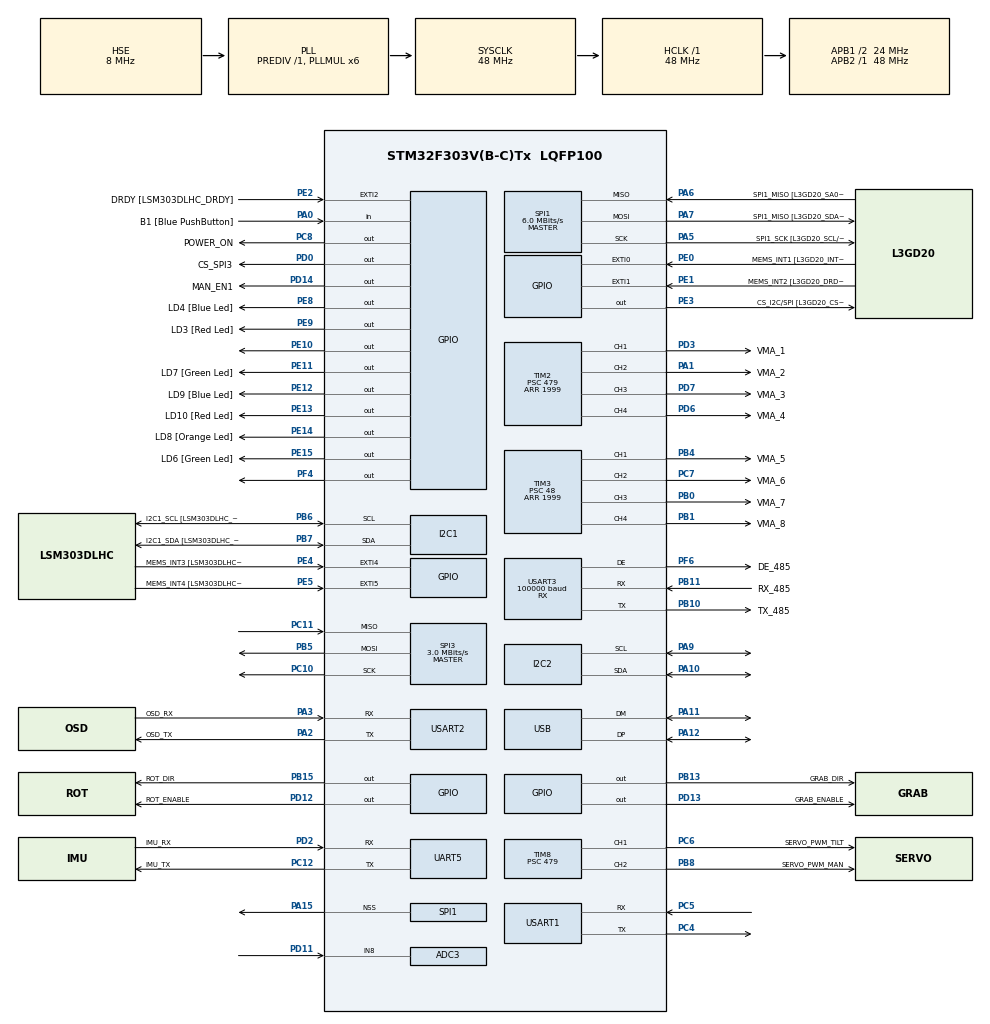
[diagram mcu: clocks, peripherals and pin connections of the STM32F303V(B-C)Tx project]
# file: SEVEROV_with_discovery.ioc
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ADC3.Channel-0\#ChannelRegularConversion=ADC_CHANNEL_8
ADC3.ContinuousConvMode=ENABLE
ADC3.NbrOfConversionFlag=1
ADC3.Offset-0\#ChannelRegularConversion=0
ADC3.OffsetNumber-0\#ChannelRegularConversion=ADC_OFFSET_NONE
ADC3.Rank-0\#ChannelRegularConversion=1
ADC3.SamplingTime-0\#ChannelRegularConversion=ADC_SAMPLETIME_19CYCLES_5
ADC3.SamplingTimeOPAMP-0\#ChannelRegularConversion=ADC_SAMPLETIME_19CYCLES_5
ADC3.master=1
I2C1.Timing-I2C=0x2000090E
I2C2.Speed=100
Mcu.Family=STM32F3
Mcu.Name=STM32F303V(B-C)Tx
Mcu.Package=LQFP100
NVIC.PriorityGroup=NVIC_PRIORITYGROUP_0
NVIC.USB_HP_IRQn=true\:0\:0\:false\:false\:true\:true\:true\:true
NVIC.USB_LP_IRQn=true\:0\:0\:false\:false\:true\:false\:true\:true
PA0.GPIO_Label=B1 [Blue PushButton]
PA0.Signal=GPIO_Input
PA1.GPIO_Label=VMA_2
PA1.Signal=S_TIM2_CH2
PA10.GPIO_Pu=GPIO_PULLUP
PA10.Mode=I2C
PA10.Signal=I2C2_SDA
PA11.Mode=Device
PA11.Signal=USB_DM
PA12.Mode=Device
PA12.Signal=USB_DP
PA13.GPIO_Label=SWDIO
PA13.Mode=Serial_Wire
PA13.Signal=SYS_JTMS-SWDIO
PA14.GPIO_Label=SWCLK
PA14.Mode=Serial_Wire
PA14.Signal=SYS_JTCK-SWCLK
PA15.Mode=NSS_Signal_Hard_Output
PA15.Signal=SPI1_NSS
PA2.GPIO_Label=OSD_TX
PA2.Mode=Asynchronous
PA2.Signal=USART2_TX
PA3.GPIO_Label=OSD_RX
PA3.Mode=Asynchronous
PA3.Signal=USART2_RX
PA5.GPIO_Label=SPI1_SCK [L3GD20_SCL/SPC]
PA5.Mode=Full_Duplex_Master
PA5.Signal=SPI1_SCK
PA6.GPIO_Label=SPI1_MISO [L3GD20_SA0/SDO]
PA6.Mode=Full_Duplex_Master
PA6.Signal=SPI1_MISO
PA7.GPIO_Label=SPI1_MISO [L3GD20_SDA/SDI/SDO]
PA7.Mode=Full_Duplex_Master
PA7.Signal=SPI1_MOSI
PA9.GPIO_Pu=GPIO_PULLUP
PA9.Mode=I2C
PA9.Signal=I2C2_SCL
PB0.GPIO_Label=VMA_7
PB0.Signal=S_TIM3_CH3
PB1.GPIO_Label=VMA_8
PB1.Signal=S_TIM3_CH4
PB10.GPIO_Label=TX_485
PB10.Mode=Asynchronous
PB10.Signal=USART3_TX
PB11.GPIO_Label=RX_485
PB11.Mode=Asynchronous
PB11.Signal=USART3_RX
PB13.GPIO_Label=GRAB_DIR
PB13.Signal=GPIO_Output
PB15.GPIO_Label=ROT_DIR
PB15.Signal=GPIO_Output
PB3.GPIO_Label=SWO
PB3.Signal=SYS_JTDO-TRACESWO
PB4.GPIO_Label=VMA_5
PB4.Signal=S_TIM3_CH1
PB5.Mode=Full_Duplex_Master
PB5.Signal=SPI3_MOSI
PB6.GPIO_Label=I2C1_SCL [LSM303DLHC_SCL]
PB6.GPIO_Pu=GPIO_PULLUP
PB6.Mode=I2C
PB6.Signal=I2C1_SCL
PB7.GPIO_Label=I2C1_SDA [LSM303DLHC_SDA]
PB7.GPIO_Pu=GPIO_PULLUP
PB7.Mode=I2C
PB7.Signal=I2C1_SDA
PB8.GPIO_Label=SERVO_PWM_MAN
PB8.Signal=S_TIM8_CH2
PC10.Mode=Full_Duplex_Master
PC10.Signal=SPI3_SCK
PC11.Mode=Full_Duplex_Master
PC11.Signal=SPI3_MISO
PC12.GPIO_Label=IMU_TX
PC12.Mode=Asynchronous
PC12.Signal=UART5_TX
PC14-OSC32_IN.GPIO_Label=OSC32_IN
PC14-OSC32_IN.Mode=LSE-External-Oscillator
PC14-OSC32_IN.Signal=RCC_OSC32_IN
PC15-OSC32_OUT.GPIO_Label=OSC32_OUT
PC15-OSC32_OUT.Mode=LSE-External-Oscillator
PC15-OSC32_OUT.Signal=RCC_OSC32_OUT
PC4.Mode=Asynchronous
PC4.Signal=USART1_TX
PC5.Mode=Asynchronous
PC5.Signal=USART1_RX
PC6.GPIO_Label=SERVO_PWM_TILT
PC6.Signal=S_TIM8_CH1
PC7.GPIO_Label=VMA_6
PC7.Signal=S_TIM3_CH2
PC8.GPIO_Label=POWER_ON
PC8.Signal=GPIO_Output
PD0.GPIO_Label=CS_SPI3
PD0.Signal=GPIO_Output
PD11.Signal=ADCx_IN8P
PD12.GPIO_Label=ROT_ENABLE
PD12.GPIO_PuPd=GPIO_PULLUP
PD12.PinState=GPIO_PIN_SET
PD12.Signal=GPIO_Output
PD13.GPIO_Label=GRAB_ENABLE
PD13.GPIO_PuPd=GPIO_PULLUP
PD13.GPIO_Speed=GPIO_SPEED_FREQ_LOW
PD13.PinState=GPIO_PIN_SET
PD13.Signal=GPIO_Output
PD14.GPIO_Label=MAN_EN1
PD14.Signal=GPIO_Output
PD2.GPIO_Label=IMU_RX
PD2.Mode=Asynchronous
PD2.Signal=UART5_RX
PD3.GPIO_Label=VMA_1
PD3.Signal=S_TIM2_CH1_ETR
PD6.GPIO_Label=VMA_4
PD6.Signal=S_TIM2_CH4
PD7.GPIO_Label=VMA_3
PD7.Signal=S_TIM2_CH3
PE0.GPIO_Label=MEMS_INT1 [L3GD20_INT1]
PE0.GPIO_ModeDefaultEXTI=GPIO_MODE_EVT_RISING
PE0.Signal=GPXTI0
PE1.GPIO_Label=MEMS_INT2 [L3GD20_DRDY/INT2]
PE1.GPIO_ModeDefaultEXTI=GPIO_MODE_EVT_RISING
PE1.Signal=GPXTI1
PE10.Signal=GPIO_Output
PE11.GPIO_Label=LD7 [Green Led]
PE11.Signal=GPIO_Output
PE12.GPIO_Label=LD9 [Blue Led]
PE12.Signal=GPIO_Output
PE13.GPIO_Label=LD10 [Red Led]
PE13.Signal=GPIO_Output
PE14.GPIO_Label=LD8 [Orange Led]
PE14.Signal=GPIO_Output
PE15.GPIO_Label=LD6 [Green Led]
PE15.Signal=GPIO_Output
PE2.GPIO_Label=DRDY [LSM303DLHC_DRDY]
PE2.GPIO_ModeDefaultEXTI=GPIO_MODE_EVT_RISING
PE2.Signal=GPXTI2
PE3.GPIO_Label=CS_I2C/SPI [L3GD20_CS_I2C/SPI]
PE3.Signal=GPIO_Output
PE4.GPIO_Label=MEMS_INT3 [LSM303DLHC_INT1]
PE4.GPIO_ModeDefaultEXTI=GPIO_MODE_EVT_RISING
PE4.Signal=GPXTI4
PE5.GPIO_Label=MEMS_INT4 [LSM303DLHC_INT2]
PE5.GPIO_ModeDefaultEXTI=GPIO_MODE_EVT_RISING
PE5.Signal=GPXTI5
PE8.GPIO_Label=LD4 [Blue Led]
PE8.Signal=GPIO_Output
PE9.GPIO_Label=LD3 [Red Led]
PE9.Signal=GPIO_Output
PF0-OSC_IN.GPIO_Label=OSC_IN
PF0-OSC_IN.Mode=HSE-External-Oscillator
PF0-OSC_IN.Signal=RCC_OSC_IN
PF1-OSC_OUT.GPIO_Label=OSC_OUT
PF1-OSC_OUT.Mode=HSE-External-Oscillator
PF1-OSC_OUT.Signal=RCC_OSC_OUT
PF4.Signal=GPIO_Output
PF6.GPIO_Label=DE_485
PF6.Mode=Hardware Flow Control (RS485)
PF6.Signal=USART3_DE
ProjectManager.HeapSize=0x200
ProjectManager.StackSize=0x400
ProjectManager.TargetToolchain=STM32CubeIDE
RCC.AHBFreq_Value=48000000
RCC.APB1CLKDivider=RCC_HCLK_DIV2
RCC.APB1Freq_Value=24000000
RCC.APB1TimFreq_Value=48000000
RCC.APB2Freq_Value=48000000
RCC.APB2TimFreq_Value=48000000
RCC.CortexFreq_Value=48000000
RCC.HCLKFreq_Value=48000000
RCC.HSE_VALUE=8000000
RCC.HSI_VALUE=8000000
RCC.PLLMUL=RCC_PLL_MUL6
RCC.SYSCLKFreq_VALUE=48000000
RCC.SYSCLKSourceVirtual=RCC_SYSCLKSOURCE_PLLCLK
RCC.USBFreq_Value=48000000
SH.ADCx_IN8P.0=ADC3_IN8,IN8-Single-Ended
SH.S_TIM2_CH1_ETR.0=TIM2_CH1,PWM Generation1 CH1
SH.S_TIM2_CH2.0=TIM2_CH2,PWM Generation2 CH2
SH.S_TIM2_CH3.0=TIM2_CH3,PWM Generation3 CH3
SH.S_TIM2_CH4.0=TIM2_CH4,PWM Generation4 CH4
SH.S_TIM3_CH1.0=TIM3_CH1,PWM Generation1 CH1
SH.S_TIM3_CH2.0=TIM3_CH2,PWM Generation2 CH2
SH.S_TIM3_CH3.0=TIM3_CH3,PWM Generation3 CH3
SH.S_TIM3_CH4.0=TIM3_CH4,PWM Generation4 CH4
SH.S_TIM8_CH1.0=TIM8_CH1,PWM Generation1 CH1
SH.S_TIM8_CH2.0=TIM8_CH2,PWM Generation2 CH2
SPI1.BaudRatePrescaler=SPI_BAUDRATEPRESCALER_8
SPI1.CalculateBaudRate=6.0 MBits/s
SPI1.DataSize=SPI_DATASIZE_8BIT
SPI1.Direction=SPI_DIRECTION_2LINES
SPI1.Mode=SPI_MODE_MASTER
SPI1.VirtualNSS=VM_NSSHARD
SPI1.VirtualType=VM_MASTER
SPI3.BaudRatePrescaler=SPI_BAUDRATEPRESCALER_8
SPI3.CLKPhase=SPI_PHASE_1EDGE
SPI3.CLKPolarity=SPI_POLARITY_LOW
SPI3.CalculateBaudRate=3.0 MBits/s
SPI3.DataSize=SPI_DATASIZE_8BIT
SPI3.Direction=SPI_DIRECTION_2LINES
SPI3.FirstBit=SPI_FIRSTBIT_MSB
SPI3.Mode=SPI_MODE_MASTER
SPI3.NSSPMode=SPI_NSS_PULSE_ENABLE
SPI3.VirtualType=VM_MASTER
TIM2.Channel-PWM\ Generation1\ CH1=TIM_CHANNEL_1
TIM2.Channel-PWM\ Generation2\ CH2=TIM_CHANNEL_2
TIM2.Channel-PWM\ Generation3\ CH3=TIM_CHANNEL_3
TIM2.Channel-PWM\ Generation4\ CH4=TIM_CHANNEL_4
TIM2.ClockDivision=TIM_CLOCKDIVISION_DIV4
TIM2.Period=1999
TIM2.Prescaler=479
TIM2.Pulse-PWM\ Generation2\ CH2=150
TIM2.Pulse-PWM\ Generation3\ CH3=150
TIM2.Pulse-PWM\ Generation4\ CH4=150
TIM3.Channel-PWM\ Generation1\ CH1=TIM_CHANNEL_1
TIM3.Channel-PWM\ Generation2\ CH2=TIM_CHANNEL_2
TIM3.Channel-PWM\ Generation3\ CH3=TIM_CHANNEL_3
TIM3.Channel-PWM\ Generation4\ CH4=TIM_CHANNEL_4
TIM3.ClockDivision=TIM_CLOCKDIVISION_DIV4
TIM3.Period=1999
TIM3.Prescaler=48
TIM3.Pulse-PWM\ Generation2\ CH2=150
TIM3.Pulse-PWM\ Generation3\ CH3=150
TIM3.Pulse-PWM\ Generation4\ CH4=150
TIM8.Channel-PWM\ Generation1\ CH1=TIM_CHANNEL_1
TIM8.Channel-PWM\ Generation2\ CH2=TIM_CHANNEL_2
TIM8.ClockDivision=TIM_CLOCKDIVISION_DIV4
TIM8.Period=1999
TIM8.Prescaler=479
TIM8.Pulse-PWM\ Generation1\ CH1=150
TIM8.Pulse-PWM\ Generation2\ CH2=150
USART1.VirtualMode-Asynchronous=VM_ASYNC
USART2.VirtualMode-Asynchronous=VM_ASYNC
USART3.BaudRate=100000
USART3.DMADisableonRxErrorParam=ADVFEATURE_DMA_DISABLEONRXERROR
USART3.Mode=MODE_RX
USART3.OverrunDisableParam=ADVFEATURE_OVERRUN_DISABLE
USART3.Parity=PARITY_EVEN
USART3.RxPinLevelInvertParam=ADVFEATURE_RXINV_ENABLE
USART3.StopBits=STOPBITS_2
USART3.TxPinLevelInvertParam=ADVFEATURE_TXINV_ENABLE
USART3.VirtualMode-Asynchronous=VM_ASYNC
USART3.VirtualMode-Hardware\ Flow\ Control\ (RS485)=VM_ASYNC
USART3.WordLength=WORDLENGTH_9B
USB_DEVICE.CLASS_NAME_FS=CDC
USB_DEVICE.VirtualMode=Cdc
USB_DEVICE.VirtualModeFS=Cdc_FS
VP_USB_DEVICE_VS_USB_DEVICE_CDC_FS.Mode=CDC_FS
board=STM32F3DISCOVERY

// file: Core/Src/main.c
/* USER CODE BEGIN Header */
/**
 ******************************************************************************
 * @file           : main.c
 * @brief          : Main program body
 ******************************************************************************
 * @attention
 *
 * Copyright (c) 2022 STMicroelectronics.
 * All rights reserved.
 *
 * This software is licensed under terms that can be found in the LICENSE file
 * in the root directory of this software component.
 * If no LICENSE file comes with this software, it is provided AS-IS.
 *
 ******************************************************************************
 */
/* USER CODE END Header */
#include "main.h"
#include "usb_device.h"

/* USER CODE BEGIN Includes */
#include <stdio.h>
#include "string.h"
#include <math.h>

#include "Thruster.h" //хедр для работы с ВМА
#include "MS5837-30BA.h" //хедр для работы с датчиком глубины

#include "max7456.h" //хедр для работы с  максом
#include "osdWidgets.h" //хедр для выводы  виджетов на экран

#include "l3gd20.h" //либа для работы с гироскопом
#include "lsm303dlhc.h" //либа для работы с компосом и акселирометром
#include "imu9dof.h" //либа для оброботки данных с иму
#include "MadgwickAHRS.h"
#include "crc.h"
/* USER CODE END Includes */

ADC_HandleTypeDef hadc3;

I2C_HandleTypeDef hi2c1;
I2C_HandleTypeDef hi2c2;

SPI_HandleTypeDef hspi1;
SPI_HandleTypeDef hspi3;

TIM_HandleTypeDef htim2;
TIM_HandleTypeDef htim3;
TIM_HandleTypeDef htim8;

UART_HandleTypeDef huart5;
UART_HandleTypeDef huart1;
UART_HandleTypeDef huart2;
UART_HandleTypeDef huart3;

/* USER CODE BEGIN PV */

//-----------------------------------------------//-----------------------------------------------//

uint8_t bufferRx[22];
extern rxFlag;  //флаг о приеме данных
uint16_t data[8] = {0,0,0,0,0,0,0,0}; //ВМА
uint16_t flags;
uint8_t MAX_SIZE = 22;

/* USER CODE END PV */

void SystemClock_Config(void);
static void MX_GPIO_Init(void);
static void MX_I2C1_Init(void);
static void MX_SPI1_Init(void);
static void MX_I2C2_Init(void);
static void MX_USART1_UART_Init(void);
static void MX_USART2_UART_Init(void);
static void MX_TIM2_Init(void);
static void MX_TIM3_Init(void);
static void MX_TIM8_Init(void);
static void MX_USART3_UART_Init(void);
static void MX_SPI3_Init(void);
static void MX_UART5_Init(void);
static void MX_ADC3_Init(void);

int main(void)
{

  /* MCU Configuration--------------------------------------------------------*/

  /* Reset of all peripherals, Initializes the Flash interface and the Systick. */
  HAL_Init();

  /* Configure the system clock */
  SystemClock_Config();

  /* Initialize all configured peripherals */
  MX_GPIO_Init();
  MX_I2C1_Init();
  MX_SPI1_Init();
  MX_I2C2_Init();
  MX_USART1_UART_Init();
  MX_USART2_UART_Init();
  MX_TIM2_Init();
  MX_TIM3_Init();
  MX_TIM8_Init();
  MX_USART3_UART_Init();
  MX_SPI3_Init();
  MX_UART5_Init();
  MX_ADC3_Init();
  MX_USB_DEVICE_Init();
  /* USER CODE BEGIN 2 */
	HAL_GPIO_WritePin(LD9_GPIO_Port, LD9_Pin, GPIO_PIN_SET); //индикация о начале работы программы

	HAL_GPIO_WritePin(POWER_ON_GPIO_Port, POWER_ON_Pin, GPIO_PIN_SET); //включаем силовое питание

	//Thruster_Init();//�?ницилизируем ВМА

  /* USER CODE END 2 */

  /* Infinite loop */
  /* USER CODE BEGIN WHILE */

	while (1)
	{
		  if(rxFlag){
			  rxFlag = 0;
			  if(check_crc(bufferRx, MAX_SIZE)){ //если crc совпало
				  HAL_GPIO_WritePin(LD8_GPIO_Port, LD8_Pin, GPIO_PIN_SET); //индикация о приеме

				  data[0] =  (bufferRx[3] << 8) | (bufferRx[2] & 0xff);
				  data[1] =  (bufferRx[5] << 8) | (bufferRx[4] & 0xff);
				  data[2] =  (bufferRx[7] << 8) | (bufferRx[6] & 0xff);
				  data[3] =  (bufferRx[9] << 8) | (bufferRx[8] & 0xff);
				  data[4] =  (bufferRx[11] << 8) | (bufferRx[10] & 0xff);
				  data[5] =  (bufferRx[13] << 8) | (bufferRx[12] & 0xff);
				  data[6] =  (bufferRx[15] << 8) | (bufferRx[14] & 0xff);
				  data[7] =  (bufferRx[17] << 8) | (bufferRx[16] & 0xff);
				  flags = (bufferRx[19] << 8) | (bufferRx[18] & 0xff);

				  Thruster_Set_Perc(data); //записываем ширину импульса Ш�?Ма

				  if(flags & (1 << 7)){  //если 7 бит выствлен
						HAL_GPIO_WritePin(POWER_ON_GPIO_Port, POWER_ON_Pin, GPIO_PIN_RESET);//выключаем силовое питание
					}
			  }
			  else{
				  HAL_GPIO_WritePin(LD8_GPIO_Port, LD8_Pin, GPIO_PIN_RESET); //индикация о ошибке приема
			  }

		  }

    /* USER CODE END WHILE */

	}
}

void SystemClock_Config(void)
{
  RCC_OscInitTypeDef RCC_OscInitStruct = {0};
  RCC_ClkInitTypeDef RCC_ClkInitStruct = {0};
  RCC_PeriphCLKInitTypeDef PeriphClkInit = {0};

  /** Initializes the RCC Oscillators according to the specified parameters
  * in the RCC_OscInitTypeDef structure.
  */
  RCC_OscInitStruct.OscillatorType = RCC_OSCILLATORTYPE_HSI|RCC_OSCILLATORTYPE_HSE;
  RCC_OscInitStruct.HSEState = RCC_HSE_ON;
  RCC_OscInitStruct.HSEPredivValue = RCC_HSE_PREDIV_DIV1;
  RCC_OscInitStruct.HSIState = RCC_HSI_ON;
  RCC_OscInitStruct.HSICalibrationValue = RCC_HSICALIBRATION_DEFAULT;
  RCC_OscInitStruct.PLL.PLLState = RCC_PLL_ON;
  RCC_OscInitStruct.PLL.PLLSource = RCC_PLLSOURCE_HSE;
  RCC_OscInitStruct.PLL.PLLMUL = RCC_PLL_MUL6;
  if (HAL_RCC_OscConfig(&RCC_OscInitStruct) != HAL_OK)
  {
    Error_Handler();
  }

  /** Initializes the CPU, AHB and APB buses clocks
  */
  RCC_ClkInitStruct.ClockType = RCC_CLOCKTYPE_HCLK|RCC_CLOCKTYPE_SYSCLK
                              |RCC_CLOCKTYPE_PCLK1|RCC_CLOCKTYPE_PCLK2;
  RCC_ClkInitStruct.SYSCLKSource = RCC_SYSCLKSOURCE_PLLCLK;
  RCC_ClkInitStruct.AHBCLKDivider = RCC_SYSCLK_DIV1;
  RCC_ClkInitStruct.APB1CLKDivider = RCC_HCLK_DIV2;
  RCC_ClkInitStruct.APB2CLKDivider = RCC_HCLK_DIV1;

  if (HAL_RCC_ClockConfig(&RCC_ClkInitStruct, FLASH_LATENCY_1) != HAL_OK)
  {
    Error_Handler();
  }
  PeriphClkInit.PeriphClockSelection = RCC_PERIPHCLK_USB|RCC_PERIPHCLK_USART1
                              |RCC_PERIPHCLK_USART2|RCC_PERIPHCLK_USART3
                              |RCC_PERIPHCLK_UART5|RCC_PERIPHCLK_I2C1
                              |RCC_PERIPHCLK_I2C2|RCC_PERIPHCLK_TIM8
                              |RCC_PERIPHCLK_ADC34;
  PeriphClkInit.Usart1ClockSelection = RCC_USART1CLKSOURCE_PCLK2;
  PeriphClkInit.Usart2ClockSelection = RCC_USART2CLKSOURCE_PCLK1;
  PeriphClkInit.Usart3ClockSelection = RCC_USART3CLKSOURCE_PCLK1;
  PeriphClkInit.Uart5ClockSelection = RCC_UART5CLKSOURCE_PCLK1;
  PeriphClkInit.Adc34ClockSelection = RCC_ADC34PLLCLK_DIV1;
  PeriphClkInit.I2c1ClockSelection = RCC_I2C1CLKSOURCE_HSI;
  PeriphClkInit.I2c2ClockSelection = RCC_I2C2CLKSOURCE_HSI;
  PeriphClkInit.USBClockSelection = RCC_USBCLKSOURCE_PLL;
  PeriphClkInit.Tim8ClockSelection = RCC_TIM8CLK_HCLK;
  if (HAL_RCCEx_PeriphCLKConfig(&PeriphClkInit) != HAL_OK)
  {
    Error_Handler();
  }
}

static void MX_ADC3_Init(void)
{

  ADC_MultiModeTypeDef multimode = {0};
  ADC_ChannelConfTypeDef sConfig = {0};

  /** Common config
  */
  hadc3.Instance = ADC3;
  hadc3.Init.ClockPrescaler = ADC_CLOCK_ASYNC_DIV1;
  hadc3.Init.Resolution = ADC_RESOLUTION_12B;
  hadc3.Init.ScanConvMode = ADC_SCAN_DISABLE;
  hadc3.Init.ContinuousConvMode = ENABLE;
  hadc3.Init.DiscontinuousConvMode = DISABLE;
  hadc3.Init.ExternalTrigConvEdge = ADC_EXTERNALTRIGCONVEDGE_NONE;
  hadc3.Init.ExternalTrigConv = ADC_SOFTWARE_START;
  hadc3.Init.DataAlign = ADC_DATAALIGN_RIGHT;
  hadc3.Init.NbrOfConversion = 1;
  hadc3.Init.DMAContinuousRequests = DISABLE;
  hadc3.Init.EOCSelection = ADC_EOC_SINGLE_CONV;
  hadc3.Init.LowPowerAutoWait = DISABLE;
  hadc3.Init.Overrun = ADC_OVR_DATA_OVERWRITTEN;
  if (HAL_ADC_Init(&hadc3) != HAL_OK)
  {
    Error_Handler();
  }

  /** Configure the ADC multi-mode
  */
  multimode.Mode = ADC_MODE_INDEPENDENT;
  if (HAL_ADCEx_MultiModeConfigChannel(&hadc3, &multimode) != HAL_OK)
  {
    Error_Handler();
  }

  /** Configure Regular Channel
  */
  sConfig.Channel = ADC_CHANNEL_8;
  sConfig.Rank = ADC_REGULAR_RANK_1;
  sConfig.SingleDiff = ADC_SINGLE_ENDED;
  sConfig.SamplingTime = ADC_SAMPLETIME_19CYCLES_5;
  sConfig.OffsetNumber = ADC_OFFSET_NONE;
  sConfig.Offset = 0;
  if (HAL_ADC_ConfigChannel(&hadc3, &sConfig) != HAL_OK)
  {
    Error_Handler();
  }

}

static void MX_I2C1_Init(void)
{

  hi2c1.Instance = I2C1;
  hi2c1.Init.Timing = 0x2000090E;
  hi2c1.Init.OwnAddress1 = 0;
  hi2c1.Init.AddressingMode = I2C_ADDRESSINGMODE_7BIT;
  hi2c1.Init.DualAddressMode = I2C_DUALADDRESS_DISABLE;
  hi2c1.Init.OwnAddress2 = 0;
  hi2c1.Init.OwnAddress2Masks = I2C_OA2_NOMASK;
  hi2c1.Init.GeneralCallMode = I2C_GENERALCALL_DISABLE;
  hi2c1.Init.NoStretchMode = I2C_NOSTRETCH_DISABLE;
  if (HAL_I2C_Init(&hi2c1) != HAL_OK)
  {
    Error_Handler();
  }

  /** Configure Analogue filter
  */
  if (HAL_I2CEx_ConfigAnalogFilter(&hi2c1, I2C_ANALOGFILTER_ENABLE) != HAL_OK)
  {
    Error_Handler();
  }

  /** Configure Digital filter
  */
  if (HAL_I2CEx_ConfigDigitalFilter(&hi2c1, 0) != HAL_OK)
  {
    Error_Handler();
  }

}

static void MX_I2C2_Init(void)
{

  hi2c2.Instance = I2C2;
  hi2c2.Init.Timing = 0x2000090E;
  hi2c2.Init.OwnAddress1 = 0;
  hi2c2.Init.AddressingMode = I2C_ADDRESSINGMODE_7BIT;
  hi2c2.Init.DualAddressMode = I2C_DUALADDRESS_DISABLE;
  hi2c2.Init.OwnAddress2 = 0;
  hi2c2.Init.OwnAddress2Masks = I2C_OA2_NOMASK;
  hi2c2.Init.GeneralCallMode = I2C_GENERALCALL_DISABLE;
  hi2c2.Init.NoStretchMode = I2C_NOSTRETCH_DISABLE;
  if (HAL_I2C_Init(&hi2c2) != HAL_OK)
  {
    Error_Handler();
  }

  /** Configure Analogue filter
  */
  if (HAL_I2CEx_ConfigAnalogFilter(&hi2c2, I2C_ANALOGFILTER_ENABLE) != HAL_OK)
  {
    Error_Handler();
  }

  /** Configure Digital filter
  */
  if (HAL_I2CEx_ConfigDigitalFilter(&hi2c2, 0) != HAL_OK)
  {
    Error_Handler();
  }

}

static void MX_SPI1_Init(void)
{

  /* SPI1 parameter configuration*/
  hspi1.Instance = SPI1;
  hspi1.Init.Mode = SPI_MODE_MASTER;
  hspi1.Init.Direction = SPI_DIRECTION_2LINES;
  hspi1.Init.DataSize = SPI_DATASIZE_8BIT;
  hspi1.Init.CLKPolarity = SPI_POLARITY_LOW;
  hspi1.Init.CLKPhase = SPI_PHASE_1EDGE;
  hspi1.Init.NSS = SPI_NSS_HARD_OUTPUT;
  hspi1.Init.BaudRatePrescaler = SPI_BAUDRATEPRESCALER_8;
  hspi1.Init.FirstBit = SPI_FIRSTBIT_MSB;
  hspi1.Init.TIMode = SPI_TIMODE_DISABLE;
  hspi1.Init.CRCCalculation = SPI_CRCCALCULATION_DISABLE;
  hspi1.Init.CRCPolynomial = 7;
  hspi1.Init.CRCLength = SPI_CRC_LENGTH_DATASIZE;
  hspi1.Init.NSSPMode = SPI_NSS_PULSE_ENABLE;
  if (HAL_SPI_Init(&hspi1) != HAL_OK)
  {
    Error_Handler();
  }

}

static void MX_SPI3_Init(void)
{

  /* SPI3 parameter configuration*/
  hspi3.Instance = SPI3;
  hspi3.Init.Mode = SPI_MODE_MASTER;
  hspi3.Init.Direction = SPI_DIRECTION_2LINES;
  hspi3.Init.DataSize = SPI_DATASIZE_8BIT;
  hspi3.Init.CLKPolarity = SPI_POLARITY_LOW;
  hspi3.Init.CLKPhase = SPI_PHASE_1EDGE;
  hspi3.Init.NSS = SPI_NSS_SOFT;
  hspi3.Init.BaudRatePrescaler = SPI_BAUDRATEPRESCALER_8;
  hspi3.Init.FirstBit = SPI_FIRSTBIT_MSB;
  hspi3.Init.TIMode = SPI_TIMODE_DISABLE;
  hspi3.Init.CRCCalculation = SPI_CRCCALCULATION_DISABLE;
  hspi3.Init.CRCPolynomial = 7;
  hspi3.Init.CRCLength = SPI_CRC_LENGTH_DATASIZE;
  hspi3.Init.NSSPMode = SPI_NSS_PULSE_ENABLE;
  if (HAL_SPI_Init(&hspi3) != HAL_OK)
  {
    Error_Handler();
  }

}

static void MX_TIM2_Init(void)
{

  TIM_MasterConfigTypeDef sMasterConfig = {0};
  TIM_OC_InitTypeDef sConfigOC = {0};

  htim2.Instance = TIM2;
  htim2.Init.Prescaler = 479;
  htim2.Init.CounterMode = TIM_COUNTERMODE_UP;
  htim2.Init.Period = 1999;
  htim2.Init.ClockDivision = TIM_CLOCKDIVISION_DIV4;
  htim2.Init.AutoReloadPreload = TIM_AUTORELOAD_PRELOAD_DISABLE;
  if (HAL_TIM_PWM_Init(&htim2) != HAL_OK)
  {
    Error_Handler();
  }
  sMasterConfig.MasterOutputTrigger = TIM_TRGO_RESET;
  sMasterConfig.MasterSlaveMode = TIM_MASTERSLAVEMODE_DISABLE;
  if (HAL_TIMEx_MasterConfigSynchronization(&htim2, &sMasterConfig) != HAL_OK)
  {
    Error_Handler();
  }
  sConfigOC.OCMode = TIM_OCMODE_PWM1;
  sConfigOC.Pulse = 0;
  sConfigOC.OCPolarity = TIM_OCPOLARITY_HIGH;
  sConfigOC.OCFastMode = TIM_OCFAST_DISABLE;
  if (HAL_TIM_PWM_ConfigChannel(&htim2, &sConfigOC, TIM_CHANNEL_1) != HAL_OK)
  {
    Error_Handler();
  }
  sConfigOC.Pulse = 150;
  if (HAL_TIM_PWM_ConfigChannel(&htim2, &sConfigOC, TIM_CHANNEL_2) != HAL_OK)
  {
    Error_Handler();
  }
  if (HAL_TIM_PWM_ConfigChannel(&htim2, &sConfigOC, TIM_CHANNEL_3) != HAL_OK)
  {
    Error_Handler();
  }
  if (HAL_TIM_PWM_ConfigChannel(&htim2, &sConfigOC, TIM_CHANNEL_4) != HAL_OK)
  {
    Error_Handler();
  }
  HAL_TIM_MspPostInit(&htim2);

}

static void MX_TIM3_Init(void)
{

  TIM_MasterConfigTypeDef sMasterConfig = {0};
  TIM_OC_InitTypeDef sConfigOC = {0};

  htim3.Instance = TIM3;
  htim3.Init.Prescaler = 48;
  htim3.Init.CounterMode = TIM_COUNTERMODE_UP;
  htim3.Init.Period = 1999;
  htim3.Init.ClockDivision = TIM_CLOCKDIVISION_DIV4;
  htim3.Init.AutoReloadPreload = TIM_AUTORELOAD_PRELOAD_DISABLE;
  if (HAL_TIM_PWM_Init(&htim3) != HAL_OK)
  {
    Error_Handler();
  }
  sMasterConfig.MasterOutputTrigger = TIM_TRGO_RESET;
  sMasterConfig.MasterSlaveMode = TIM_MASTERSLAVEMODE_DISABLE;
  if (HAL_TIMEx_MasterConfigSynchronization(&htim3, &sMasterConfig) != HAL_OK)
  {
    Error_Handler();
  }
  sConfigOC.OCMode = TIM_OCMODE_PWM1;
  sConfigOC.Pulse = 0;
  sConfigOC.OCPolarity = TIM_OCPOLARITY_HIGH;
  sConfigOC.OCFastMode = TIM_OCFAST_DISABLE;
  if (HAL_TIM_PWM_ConfigChannel(&htim3, &sConfigOC, TIM_CHANNEL_1) != HAL_OK)
  {
    Error_Handler();
  }
  sConfigOC.Pulse = 150;
  if (HAL_TIM_PWM_ConfigChannel(&htim3, &sConfigOC, TIM_CHANNEL_2) != HAL_OK)
  {
    Error_Handler();
  }
  if (HAL_TIM_PWM_ConfigChannel(&htim3, &sConfigOC, TIM_CHANNEL_3) != HAL_OK)
  {
    Error_Handler();
  }
  if (HAL_TIM_PWM_ConfigChannel(&htim3, &sConfigOC, TIM_CHANNEL_4) != HAL_OK)
  {
    Error_Handler();
  }
  HAL_TIM_MspPostInit(&htim3);

}

static void MX_TIM8_Init(void)
{

  TIM_MasterConfigTypeDef sMasterConfig = {0};
  TIM_OC_InitTypeDef sConfigOC = {0};
  TIM_BreakDeadTimeConfigTypeDef sBreakDeadTimeConfig = {0};

  htim8.Instance = TIM8;
  htim8.Init.Prescaler = 479;
  htim8.Init.CounterMode = TIM_COUNTERMODE_UP;
  htim8.Init.Period = 1999;
  htim8.Init.ClockDivision = TIM_CLOCKDIVISION_DIV4;
  htim8.Init.RepetitionCounter = 0;
  htim8.Init.AutoReloadPreload = TIM_AUTORELOAD_PRELOAD_DISABLE;
  if (HAL_TIM_PWM_Init(&htim8) != HAL_OK)
  {
    Error_Handler();
  }
  sMasterConfig.MasterOutputTrigger = TIM_TRGO_RESET;
  sMasterConfig.MasterOutputTrigger2 = TIM_TRGO2_RESET;
  sMasterConfig.MasterSlaveMode = TIM_MASTERSLAVEMODE_DISABLE;
  if (HAL_TIMEx_MasterConfigSynchronization(&htim8, &sMasterConfig) != HAL_OK)
  {
    Error_Handler();
  }
  sConfigOC.OCMode = TIM_OCMODE_PWM1;
  sConfigOC.Pulse = 150;
  sConfigOC.OCPolarity = TIM_OCPOLARITY_HIGH;
  sConfigOC.OCNPolarity = TIM_OCNPOLARITY_HIGH;
  sConfigOC.OCFastMode = TIM_OCFAST_DISABLE;
  sConfigOC.OCIdleState = TIM_OCIDLESTATE_RESET;
  sConfigOC.OCNIdleState = TIM_OCNIDLESTATE_RESET;
  if (HAL_TIM_PWM_ConfigChannel(&htim8, &sConfigOC, TIM_CHANNEL_1) != HAL_OK)
  {
    Error_Handler();
  }
  if (HAL_TIM_PWM_ConfigChannel(&htim8, &sConfigOC, TIM_CHANNEL_2) != HAL_OK)
  {
    Error_Handler();
  }
  sBreakDeadTimeConfig.OffStateRunMode = TIM_OSSR_DISABLE;
  sBreakDeadTimeConfig.OffStateIDLEMode = TIM_OSSI_DISABLE;
  sBreakDeadTimeConfig.LockLevel = TIM_LOCKLEVEL_OFF;
  sBreakDeadTimeConfig.DeadTime = 0;
  sBreakDeadTimeConfig.BreakState = TIM_BREAK_DISABLE;
  sBreakDeadTimeConfig.BreakPolarity = TIM_BREAKPOLARITY_HIGH;
  sBreakDeadTimeConfig.BreakFilter = 0;
  sBreakDeadTimeConfig.Break2State = TIM_BREAK2_DISABLE;
  sBreakDeadTimeConfig.Break2Polarity = TIM_BREAK2POLARITY_HIGH;
  sBreakDeadTimeConfig.Break2Filter = 0;
  sBreakDeadTimeConfig.AutomaticOutput = TIM_AUTOMATICOUTPUT_DISABLE;
  if (HAL_TIMEx_ConfigBreakDeadTime(&htim8, &sBreakDeadTimeConfig) != HAL_OK)
  {
    Error_Handler();
  }
  HAL_TIM_MspPostInit(&htim8);

}

static void MX_UART5_Init(void)
{

  huart5.Instance = UART5;
  huart5.Init.BaudRate = 115200;
  huart5.Init.WordLength = UART_WORDLENGTH_8B;
  huart5.Init.StopBits = UART_STOPBITS_1;
  huart5.Init.Parity = UART_PARITY_NONE;
  huart5.Init.Mode = UART_MODE_TX_RX;
  huart5.Init.HwFlowCtl = UART_HWCONTROL_NONE;
  huart5.Init.OverSampling = UART_OVERSAMPLING_16;
  huart5.Init.OneBitSampling = UART_ONE_BIT_SAMPLE_DISABLE;
  huart5.AdvancedInit.AdvFeatureInit = UART_ADVFEATURE_NO_INIT;
  if (HAL_UART_Init(&huart5) != HAL_OK)
  {
    Error_Handler();
  }

}

static void MX_USART1_UART_Init(void)
{

  huart1.Instance = USART1;
  huart1.Init.BaudRate = 38400;
  huart1.Init.WordLength = UART_WORDLENGTH_8B;
  huart1.Init.StopBits = UART_STOPBITS_1;
  huart1.Init.Parity = UART_PARITY_NONE;
  huart1.Init.Mode = UART_MODE_TX_RX;
  huart1.Init.HwFlowCtl = UART_HWCONTROL_NONE;
  huart1.Init.OverSampling = UART_OVERSAMPLING_16;
  huart1.Init.OneBitSampling = UART_ONE_BIT_SAMPLE_DISABLE;
  huart1.AdvancedInit.AdvFeatureInit = UART_ADVFEATURE_NO_INIT;
  if (HAL_UART_Init(&huart1) != HAL_OK)
  {
    Error_Handler();
  }

}

static void MX_USART2_UART_Init(void)
{

  huart2.Instance = USART2;
  huart2.Init.BaudRate = 38400;
  huart2.Init.WordLength = UART_WORDLENGTH_8B;
  huart2.Init.StopBits = UART_STOPBITS_1;
  huart2.Init.Parity = UART_PARITY_NONE;
  huart2.Init.Mode = UART_MODE_TX_RX;
  huart2.Init.HwFlowCtl = UART_HWCONTROL_NONE;
  huart2.Init.OverSampling = UART_OVERSAMPLING_16;
  huart2.Init.OneBitSampling = UART_ONE_BIT_SAMPLE_DISABLE;
  huart2.AdvancedInit.AdvFeatureInit = UART_ADVFEATURE_NO_INIT;
  if (HAL_UART_Init(&huart2) != HAL_OK)
  {
    Error_Handler();
  }

}

static void MX_USART3_UART_Init(void)
{

  huart3.Instance = USART3;
  huart3.Init.BaudRate = 100000;
  huart3.Init.WordLength = UART_WORDLENGTH_9B;
  huart3.Init.StopBits = UART_STOPBITS_2;
  huart3.Init.Parity = UART_PARITY_EVEN;
  huart3.Init.Mode = UART_MODE_RX;
  huart3.Init.HwFlowCtl = UART_HWCONTROL_NONE;
  huart3.Init.OverSampling = UART_OVERSAMPLING_16;
  huart3.Init.OneBitSampling = UART_ONE_BIT_SAMPLE_DISABLE;
  huart3.AdvancedInit.AdvFeatureInit = UART_ADVFEATURE_TXINVERT_INIT|UART_ADVFEATURE_RXINVERT_INIT
                              |UART_ADVFEATURE_RXOVERRUNDISABLE_INIT|UART_ADVFEATURE_DMADISABLEONERROR_INIT;
  huart3.AdvancedInit.TxPinLevelInvert = UART_ADVFEATURE_TXINV_ENABLE;
  huart3.AdvancedInit.RxPinLevelInvert = UART_ADVFEATURE_RXINV_ENABLE;
  huart3.AdvancedInit.OverrunDisable = UART_ADVFEATURE_OVERRUN_DISABLE;
  huart3.AdvancedInit.DMADisableonRxError = UART_ADVFEATURE_DMA_DISABLEONRXERROR;
  if (HAL_RS485Ex_Init(&huart3, UART_DE_POLARITY_HIGH, 0, 0) != HAL_OK)
  {
    Error_Handler();
  }

}

static void MX_GPIO_Init(void)
{
  GPIO_InitTypeDef GPIO_InitStruct = {0};

  /* GPIO Ports Clock Enable */
  __HAL_RCC_GPIOE_CLK_ENABLE();
  __HAL_RCC_GPIOC_CLK_ENABLE();
  __HAL_RCC_GPIOF_CLK_ENABLE();
  __HAL_RCC_GPIOA_CLK_ENABLE();
  __HAL_RCC_GPIOB_CLK_ENABLE();
  __HAL_RCC_GPIOD_CLK_ENABLE();

  /*Configure GPIO pin Output Level */
  HAL_GPIO_WritePin(GPIOE, CS_I2C_SPI_Pin|LD4_Pin|LD3_Pin|GPIO_PIN_10
                          |LD7_Pin|LD9_Pin|LD10_Pin|LD8_Pin
                          |LD6_Pin, GPIO_PIN_RESET);

  /*Configure GPIO pin Output Level */
  HAL_GPIO_WritePin(GPIOF, GPIO_PIN_4, GPIO_PIN_RESET);

  /*Configure GPIO pin Output Level */
  HAL_GPIO_WritePin(GPIOB, GRAB_DIR_Pin|ROT_DIR_Pin, GPIO_PIN_RESET);

  /*Configure GPIO pin Output Level */
  HAL_GPIO_WritePin(GPIOD, ROT_ENABLE_Pin|GRAB_ENABLE_Pin, GPIO_PIN_SET);

  /*Configure GPIO pin Output Level */
  HAL_GPIO_WritePin(GPIOD, MAN_EN1_Pin|CS_SPI3_Pin, GPIO_PIN_RESET);

  /*Configure GPIO pin Output Level */
  HAL_GPIO_WritePin(POWER_ON_GPIO_Port, POWER_ON_Pin, GPIO_PIN_RESET);

  /*Configure GPIO pins : DRDY_Pin MEMS_INT3_Pin MEMS_INT4_Pin MEMS_INT1_Pin
                           MEMS_INT2_Pin */
  GPIO_InitStruct.Pin = DRDY_Pin|MEMS_INT3_Pin|MEMS_INT4_Pin|MEMS_INT1_Pin
                          |MEMS_INT2_Pin;
  GPIO_InitStruct.Mode = GPIO_MODE_EVT_RISING;
  GPIO_InitStruct.Pull = GPIO_NOPULL;
  HAL_GPIO_Init(GPIOE, &GPIO_InitStruct);

  /*Configure GPIO pins : CS_I2C_SPI_Pin LD4_Pin LD3_Pin PE10
                           LD7_Pin LD9_Pin LD10_Pin LD8_Pin
                           LD6_Pin */
  GPIO_InitStruct.Pin = CS_I2C_SPI_Pin|LD4_Pin|LD3_Pin|GPIO_PIN_10
                          |LD7_Pin|LD9_Pin|LD10_Pin|LD8_Pin
                          |LD6_Pin;
  GPIO_InitStruct.Mode = GPIO_MODE_OUTPUT_PP;
  GPIO_InitStruct.Pull = GPIO_NOPULL;
  GPIO_InitStruct.Speed = GPIO_SPEED_FREQ_LOW;
  HAL_GPIO_Init(GPIOE, &GPIO_InitStruct);

  /*Configure GPIO pin : B1_Pin */
  GPIO_InitStruct.Pin = B1_Pin;
  GPIO_InitStruct.Mode = GPIO_MODE_INPUT;
  GPIO_InitStruct.Pull = GPIO_NOPULL;
  HAL_GPIO_Init(B1_GPIO_Port, &GPIO_InitStruct);

  /*Configure GPIO pin : PF4 */
  GPIO_InitStruct.Pin = GPIO_PIN_4;
  GPIO_InitStruct.Mode = GPIO_MODE_OUTPUT_PP;
  GPIO_InitStruct.Pull = GPIO_NOPULL;
  GPIO_InitStruct.Speed = GPIO_SPEED_FREQ_LOW;
  HAL_GPIO_Init(GPIOF, &GPIO_InitStruct);

  /*Configure GPIO pins : GRAB_DIR_Pin ROT_DIR_Pin */
  GPIO_InitStruct.Pin = GRAB_DIR_Pin|ROT_DIR_Pin;
  GPIO_InitStruct.Mode = GPIO_MODE_OUTPUT_PP;
  GPIO_InitStruct.Pull = GPIO_NOPULL;
  GPIO_InitStruct.Speed = GPIO_SPEED_FREQ_LOW;
  HAL_GPIO_Init(GPIOB, &GPIO_InitStruct);

  /*Configure GPIO pins : ROT_ENABLE_Pin GRAB_ENABLE_Pin */
  GPIO_InitStruct.Pin = ROT_ENABLE_Pin|GRAB_ENABLE_Pin;
  GPIO_InitStruct.Mode = GPIO_MODE_OUTPUT_PP;
  GPIO_InitStruct.Pull = GPIO_PULLUP;
  GPIO_InitStruct.Speed = GPIO_SPEED_FREQ_LOW;
  HAL_GPIO_Init(GPIOD, &GPIO_InitStruct);

  /*Configure GPIO pins : MAN_EN1_Pin CS_SPI3_Pin */
  GPIO_InitStruct.Pin = MAN_EN1_Pin|CS_SPI3_Pin;
  GPIO_InitStruct.Mode = GPIO_MODE_OUTPUT_PP;
  GPIO_InitStruct.Pull = GPIO_NOPULL;
  GPIO_InitStruct.Speed = GPIO_SPEED_FREQ_LOW;
  HAL_GPIO_Init(GPIOD, &GPIO_InitStruct);

  /*Configure GPIO pin : POWER_ON_Pin */
  GPIO_InitStruct.Pin = POWER_ON_Pin;
  GPIO_InitStruct.Mode = GPIO_MODE_OUTPUT_PP;
  GPIO_InitStruct.Pull = GPIO_NOPULL;
  GPIO_InitStruct.Speed = GPIO_SPEED_FREQ_LOW;
  HAL_GPIO_Init(POWER_ON_GPIO_Port, &GPIO_InitStruct);

}

void Error_Handler(void)
{
	__disable_irq();
	while (1)
	{
	}
}
